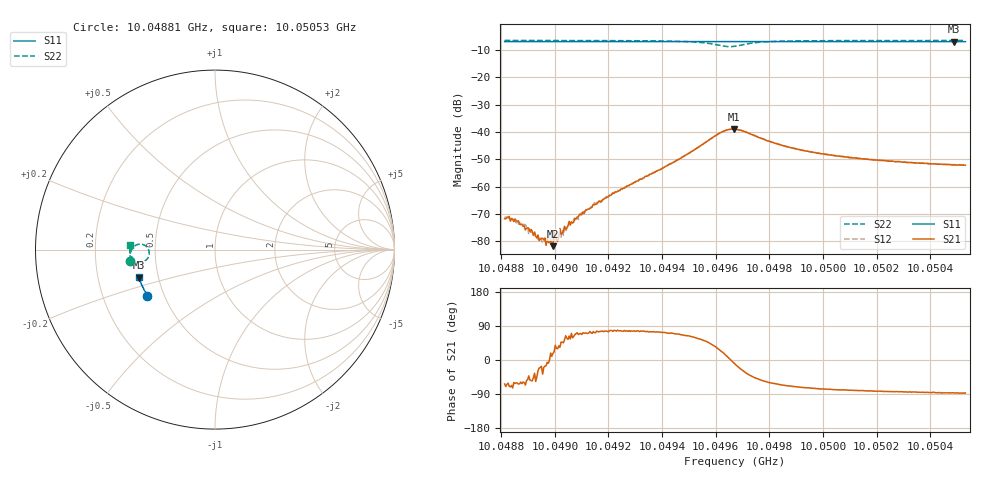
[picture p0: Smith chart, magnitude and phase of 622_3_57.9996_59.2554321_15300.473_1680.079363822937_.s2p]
#  HZ  S  RI  R  50.00
! Rohde & Schwarz Vector Network Analyzer
! Rohde-Schwarz,ZNB20-2Port,1311601062101988,3.16
! Created: UTC 3/21/2024, 1:18:11 AM
! freq[Hz]  re:S11  im:S11  re:S21  im:S21  re:S12  im:S12  re:S22  im:S22
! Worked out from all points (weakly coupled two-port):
!   401 points, 10.04881 GHz to 10.05053 GHz, reference 50 ohm
!   highest |S21| = -38.89 dB at 10.04967 GHz (marker M1); lowest = -81.7 dB at 10.04899 GHz (marker M2)
!   lowest |S11| = -6.9 dB at 10.05049 GHz (marker M3), VSWR 2.65, Z = 19.4 - j7.65 ohm
!   |S11| at or under -10 dB: nowhere
!   |S22| runs from -8.7 to -6.4 dB; largest |S21 - S12| = 0.00087
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1.0048813e10  -0.3767 -0.2558  0.000117 -0.000233  0.000128 -0.00024  -0.4722 -0.0635
1.004886e10  -0.3784 -0.253  0.000114 -0.000205  0.000108 -0.000199  -0.4723 -0.0599
1.004889e10  -0.3794 -0.2514  6.6e-05 -0.000148  0.000115 -0.000169  -0.4725 -0.0574
1.0048903e10  -0.38 -0.2506  0.000128 -0.000116  9.52e-05 -9.54e-05  -0.4725 -0.0563
1.0048946e10  -0.3813 -0.2484  0.000103 -3.75e-05  0.000116 -3.9e-05  -0.4727 -0.0528
1.0048984e10  -0.3827 -0.2461  9.71e-05 3.22e-05  0.000105 3.97e-05  -0.4729 -0.0497
1.0048993e10  -0.3829 -0.2456  7.8e-05 2.47e-05  0.000101 4.68e-05  -0.473 -0.049
1.0049014e10  -0.3837 -0.2443  9.35e-05 7.14e-05  0.000105 8.11e-05  -0.4731 -0.0472
1.0049045e10  -0.3848 -0.2427  9.4e-05 0.00015  7.46e-05 0.000154  -0.4729 -0.0445
1.00491e10  -0.3867 -0.2396  0.000119 0.000283  8.73e-05 0.000322  -0.473 -0.0395
1.0049191e10  -0.3897 -0.2343  0.00015 0.000605  0.000138 0.000642  -0.4725 -0.0305
1.0049388e10  -0.3958 -0.2228  0.000565 0.00194  0.00044 0.002  -0.4669 -0.00523
1.004953e10  -0.3999 -0.2143  0.00273 0.00432  0.00247 0.00446  -0.4431 0.0235
1.0049616e10  -0.4016 -0.2092  0.00867 0.00425  0.00835 0.00481  -0.3861 0.0202
1.0049667e10  -0.4028 -0.2066  0.0112 -0.00158  0.0114 -0.000728  -0.3688 -0.0357
1.0049672e10  -0.403 -0.2064  0.0111 -0.00214  0.0113 -0.00131  -0.3708 -0.0407
1.0049775e10  -0.4064 -0.2008  0.00436 -0.00612  0.00482 -0.00587  -0.442 -0.0642
1.0049856e10  -0.4089 -0.1959  0.00216 -0.00511  0.00249 -0.00501  -0.4618 -0.046
1.004996e10  -0.4117 -0.1896  0.00117 -0.00416  0.00139 -0.0041  -0.4704 -0.0283
1.0050247e10  -0.4189 -0.1721  0.000337 -0.00291  0.000544 -0.00291  -0.4752 0.00355
1.0050488e10  -0.4243 -0.1572  0.000149 -0.00252  0.000246 -0.00252  -0.4753 0.0236
1.0050531e10  -0.4253 -0.1546  0.000139 -0.00247  0.000244 -0.00245  -0.475 0.0267
